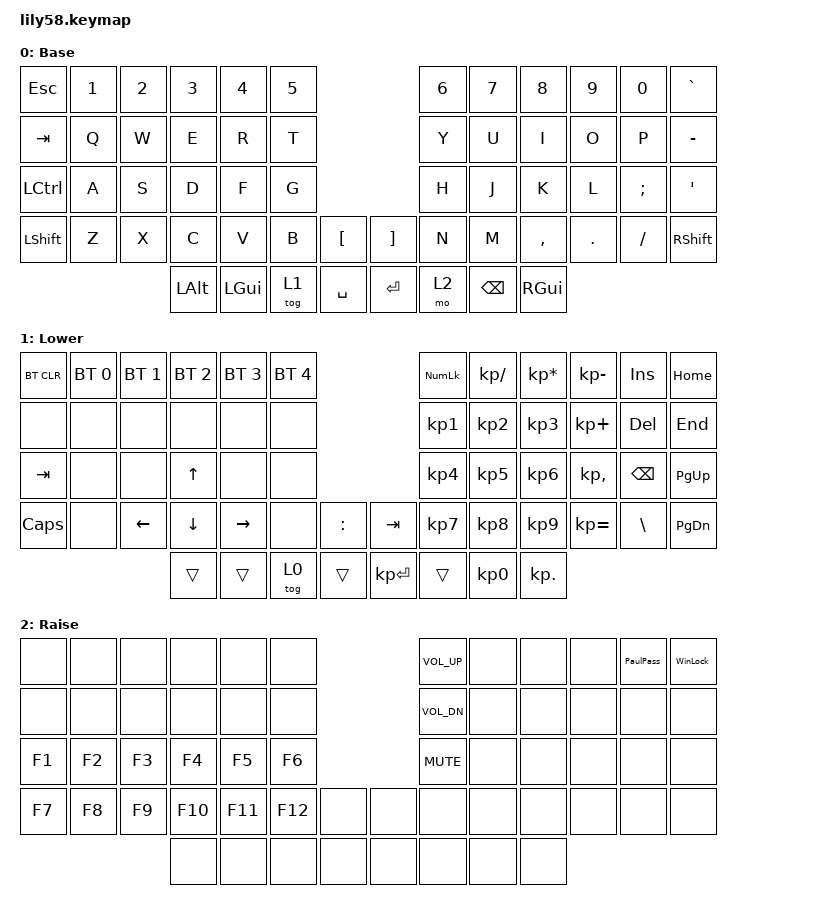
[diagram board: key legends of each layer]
/*
 * Copyright (c) 2020 The ZMK Contributors
 *
 * SPDX-License-Identifier: MIT
 */

#include <behaviors.dtsi>
#include <dt-bindings/zmk/bt.h>
#include <dt-bindings/zmk/keys.h>

/ {
    macros {
        PaulPass: PaulPass {
            compatible = "zmk,behavior-macro";
            #binding-cells = <0>;
            bindings = <kp p>;
            label = "PAULPASS";
        };

        WinLock: WinLock {
            compatible = "zmk,behavior-macro";
            #binding-cells = <0>;
            bindings = <&kp LEFT_WIN &kp L>;
            label = "WINLOCK";
        };
    };

    keymap {
        compatible = "zmk,keymap";

        default_layer {
            // ------------------------------------------------------------------------------------------------------------
            // |  ESC  |  1  |  2  |  3   |  4   |  5   |                   |  6   |  7    |  8    |  9   |   0   |   `   |
            // |  TAB  |  Q  |  W  |  E   |  R   |  T   |                   |  Y   |  U    |  I    |  O   |   P   |   -   |
            // |  CTRL |  A  |  S  |  D   |  F   |  G   |                   |  H   |  J    |  K    |  L   |   ;   |   '   |
            // | SHIFT |  Z  |  X  |  C   |  V   |  B   |   "["  |  |  "]"  |  N   |  M    |  ,    |  .   |   /   | SHIFT |
            //                     | ALT  | GUI  | LOWER|  SPACE |  | ENTER | RAISE| BSPC  | GUI   |

            display-name = "Base";
            bindings = <
&kp ESC    &kp N1  &kp N2  &kp N3    &kp N4    &kp N5                         &kp N6  &kp N7    &kp N8     &kp N9   &kp N0    &kp GRAVE
&kp TAB    &kp Q   &kp W   &kp E     &kp R     &kp T                          &kp Y   &kp U     &kp I      &kp O    &kp P     &kp MINUS
&kp LCTRL  &kp A   &kp S   &kp D     &kp F     &kp G                          &kp H   &kp J     &kp K      &kp L    &kp SEMI  &kp SQT
&kp LSHFT  &kp Z   &kp X   &kp C     &kp V     &kp B   &kp LBKT     &kp RBKT  &kp N   &kp M     &kp COMMA  &kp DOT  &kp FSLH  &kp RSHFT
                           &kp LALT  &kp LGUI  &tog 1  &kp SPACE    &kp RET   &mo 2   &kp BSPC  &kp RGUI
            >;
        };

        lower_layer {
            // ------------------------------------------------------------------------------------------------------------
            // | BTCLR | BT1 | BT2 |  BT3 |  BT4 |  BT5 |                   | NumL |  /    |  *    |  -   |  INS  |  HOME |
            // |       |     |     |      |      |      |                   |  1   |  2    |  3    |  +   |  DEL  |  FEND |
            // |  Tab  |     |     |   ^  |      |      |                   |  4   |  5    |  6    |  ,   |  BKSP |  PG_U |
            // |  Caps |     |   < |   _  |  >   |      |   :    |  |   Tab |  7   |  8    |  9    |  =   |   \   |  PG_D |
            //                     |      |      |      |   Base |  |   ENT |      |  0    |  .    |

            display-name = "Lower";
            bindings = <
&bt BT_CLR    &bt BT_SEL 0  &bt BT_SEL 1    &bt BT_SEL 2    &bt BT_SEL 3     &bt BT_SEL 4                             &kp KP_NUMLOCK   &kp KP_DIVIDE    &kp KP_MULTIPLY  &kp KP_SUBTRACT  &kp INSERT     &kp HOME
&none         &none         &none           &none           &none            &none                                    &kp KP_NUMBER_1  &kp KP_NUMBER_2  &kp KP_NUMBER_3  &kp KP_PLUS      &kp DELETE     &kp END
&kp TAB       &none         &none           &kp UP          &none            &none                                    &kp KP_NUMBER_4  &kp KP_NUMBER_5  &kp KP_NUMBER_6  &kp KP_COMMA     &kp BACKSPACE  &kp PAGE_UP
&kp CAPSLOCK  &none         &kp LEFT_ARROW  &kp DOWN_ARROW  &kp RIGHT_ARROW  &none         &kp COLON    &kp TAB       &kp KP_NUMBER_7  &kp KP_NUMBER_8  &kp KP_NUMBER_9  &kp KP_EQUAL     &kp BACKSLASH  &kp PAGE_DOWN
                                            &trans          &trans           &tog 0        &trans       &kp KP_ENTER  &trans           &kp KP_NUMBER_0  &kp KP_DOT
            >;
        };

        raise_layer {
            // ------------------------------------------------------------------------------------------------------------
            // |       |     |     |      |      |      |                   |Vol_u |       |       |      |   M0  |   M1  |
            // |       |     |     |      |      |      |                   |VOL_d |       |       |      |   M2  |   M3  |
            // |   F1  |  F2 |  F3 |  F4  |  F5  |  F6  |                   | MUTE |       |       |      |   M4  |   M5  |
            // |   F7  |  F8 |  F9 |  F10 |  F11 |  F12 |        |  |       |      |       |       |      |   M6  |   M7  |
            //                     |      |      |      |        |  |       |      |       |       |

            display-name = "Raise";
            bindings = <
&none   &none   &none   &none    &none    &none                    &kp C_VOLUME_UP  &none  &none  &none  &PaulPass  &WinLock
&none   &none   &none   &none    &none    &none                    &kp C_VOL_DN     &none  &none  &none  &none      &none
&kp F1  &kp F2  &kp F3  &kp F4   &kp F5   &kp F6                   &kp K_MUTE       &none  &none  &none  &none      &none
&kp F7  &kp F8  &kp F9  &kp F10  &kp F11  &kp F12  &none    &none  &none            &none  &none  &none  &none      &none
                        &none    &none    &none    &none    &none  &none            &none  &none
            >;
        };

        extra_1 { status = "reserved"; };
    };
};
